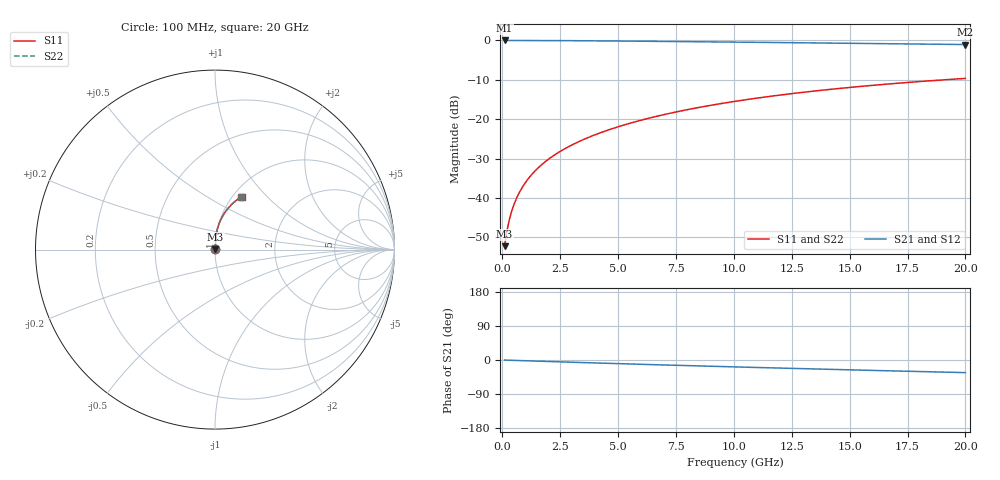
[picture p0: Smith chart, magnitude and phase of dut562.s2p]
! Touchstone file exported from HFSS 2024.1.0
!  File:  C:/UserFiles/LocalFiles/RDL_TSV_Batchsim/temp_RDL_bottom_562_1779689840.aedt
!  Generated:  02:19:53 PM May 25, 2026
!  Design:  RDL_bottom
!  Project:  temp_RDL_bottom_562_1779689840
!  Setup:  Setup1
!  Solution:  Sweep
! Variables:
!  dtsv = 10.80580581um
!  hbump = 3um
!  htsv = 91.77um
!  ldown = 440.11um
!  lrdl = 100um
!  p = 40
!  p1 = 56.33um
!  rhole = 1um
!  t = 450um
!  tdown = 4.26um
!  trdl = 3.915915916um
!  wdown = 22.65um
!  wrdl = 20um
# GHz S MA R 50.000000
! Terminal data exported
! Port[1] = RDL1_T1
! Port[2] = RDL1_T2
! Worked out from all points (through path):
!   200 points, 100 MHz to 20 GHz, reference 50 ohm
!   highest |S21| = -0.02 dB at 100 MHz (marker M1); lowest = -1.1 dB at 20 GHz (marker M2)
!   group delay of S21, straight-line fit = 4.59 ps
!   lowest |S11| = -52.2 dB at 100 MHz (marker M3), VSWR 1.00, Z = 50.2 + j0.168 ohm
!   |S11| at or under -10 dB: start of sweep to 19.07 GHz
!   |S22| runs from -52.2 to -9.6 dB; largest |S21 - S12| = 3e-15
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0.1  0.002454 43.0  0.9982 -0.2  0.9982 -0.2  0.002454 43.0
! Gamma 0 0 0 0
! Port Impedance 50 0 50 0
0.2  0.0038 60.3  0.9981 -0.4  0.9981 -0.4  0.0038 60.3
0.3  0.005261 67.9  0.998 -0.6  0.998 -0.6  0.005261 67.9
0.4  0.006739 72.2  0.9978 -0.8  0.9978 -0.8  0.006738 72.2
0.5  0.008222 75.0  0.9977 -1.0  0.9977 -1.0  0.008221 75.0
0.6  0.009711 77.0  0.9976 -1.2  0.9976 -1.2  0.009711 77.0
0.8  0.01271 79.8  0.9973 -1.6  0.9973 -1.6  0.01271 79.8
1.1  0.01727 82.2  0.9969 -2.2  0.9969 -2.2  0.01727 82.2
1.5  0.02341 83.9  0.9961 -3.0  0.9961 -3.0  0.02341 83.9
1.8  0.02807 84.7  0.9954 -3.6  0.9954 -3.6  0.02807 84.7
2.1  0.03276 85.2  0.9945 -4.2  0.9945 -4.2  0.03276 85.2
2.7  0.04226 85.8  0.9925 -5.3  0.9925 -5.3  0.04227 85.8
3.5  0.05518 85.9  0.9893 -6.8  0.9893 -6.8  0.05519 86.0
4.2  0.06673 85.8  0.986 -8.2  0.986 -8.2  0.06673 85.8
5  0.08017 85.3  0.9819 -9.6  0.9819 -9.6  0.08019 85.4
6.8  0.1113 83.6  0.9716 -12.8  0.9716 -12.8  0.1113 83.7
8.4  0.1395 81.6  0.9618 -15.5  0.9618 -15.5  0.1395 81.6
10.1  0.1695 79.1  0.9511 -18.3  0.9511 -18.3  0.1696 79.1
11.7  0.1975 76.6  0.9409 -20.9  0.9409 -20.9  0.1976 76.6
13.4  0.2266 73.8  0.9298 -23.5  0.9298 -23.5  0.2267 73.9
16.7  0.2803 68.5  0.9079 -28.5  0.9079 -28.5  0.2805 68.6
20  0.3296 63.4  0.8856 -33.3  0.8856 -33.3  0.3299 63.4
